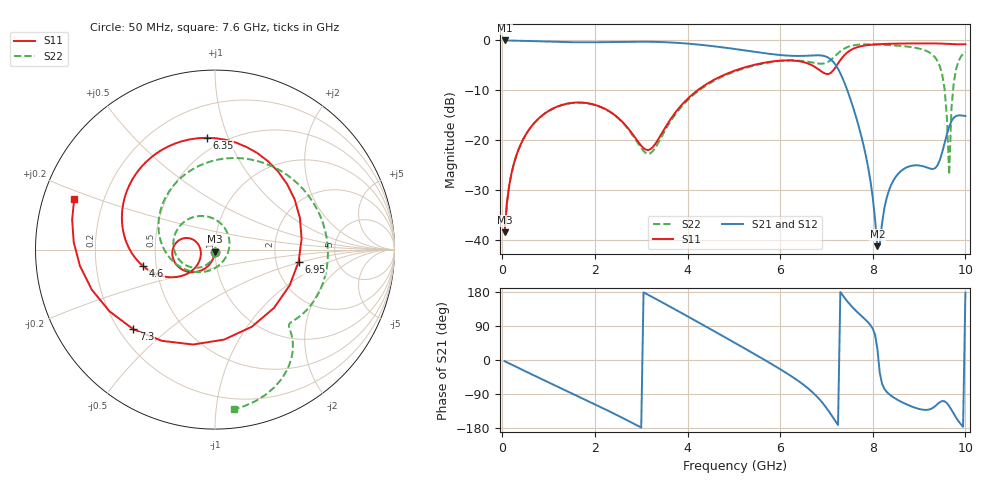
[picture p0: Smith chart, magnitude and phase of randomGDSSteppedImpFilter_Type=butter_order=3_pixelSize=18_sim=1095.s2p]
! freq	dB(S11)	phase(S11)	dB(S12)	phase(S12)
!  dB(S21)	phase(S21)	dB(S22)	phase(S22)
!S-par simulation data
#  GHz  S  DB  R 50
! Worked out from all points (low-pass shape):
!   200 points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, 50 MHz to 10 GHz, reference 50 ohm
!   highest |S21| = -0.01 dB at 50 MHz (marker M1); lowest = -41.2 dB at 8.1 GHz (marker M2)
!   |S21| within 3 dB of the highest: start of sweep to 6.107 GHz; 6.692 GHz to 6.878 GHz (185.7 MHz wide, 2.74 % of centre)
!   lowest |S11| = -38.4 dB at 50 MHz (marker M3), VSWR 1.02, Z = 49.9 - j1.2 ohm
!   |S11| at or under -10 dB: start of sweep to 4.214 GHz
!   |S22| runs from -38.5 to -0.8 dB; largest |S21 - S12| = 0
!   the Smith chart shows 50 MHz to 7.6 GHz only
!   S11 on the Smith chart (normalised r, x): 50 MHz: 1.00, -0.02; 4.6 GHz: 0.42, -0.09; 6.35 GHz: 0.41, +0.84; 6.95 GHz: 2.68, -0.47; 7.3 GHz: 0.26, -0.38; 7.6 GHz: 0.09, +0.17
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0.05  -38.43 -92.0  -0.01 -3.0  -0.01 -3.0  -38.45 -92.9
0.2  -26.55 -100.5  -0.03 -12.0  -0.03 -12.0  -26.57 -103.6
0.5  -18.97 -116.4  -0.10 -29.9  -0.10 -29.9  -18.99 -124.3
1.75  -12.46 -176.2  -0.37 -102.4  -0.37 -102.4  -12.49 150.4
2.7  -17.40 155.5  -0.27 -159.2  -0.27 -159.2  -17.53 66.6
3.4  -19.28 -143.6  -0.31 155.6  -0.31 155.6  -19.94 -88.0
4.6  -7.74 -166.9  -1.20 74.3  -1.20 74.3  -7.95 133.6
5.05  -5.95 173.2  -1.75 43.3  -1.75 43.3  -6.12 91.8
6.35  -4.09 94.3  -3.11 -51.7  -3.11 -51.7  -4.02 -16.7
6.7  -5.04 51.2  -3.00 -85.3  -3.00 -85.3  -4.42 -38.1
6.95  -6.55 -8.4  -3.11 -118.5  -3.11 -118.5  -4.60 -45.7
7.3  -3.94 -135.8  -6.59 179.4  -6.59 179.4  -2.18 -58.6
7.6  -1.58 160.2  -14.14 134.3  -14.14 134.3  -0.95 -83.4
7.9  -0.93 124.2  -25.40 99.2  -25.40 99.2  -0.78 -105.9
8.1  -0.77 107.0  -41.17 28.9  -41.17 28.9  -0.82 -119.6
8.35  -0.67 89.2  -30.01 -89.9  -30.01 -89.9  -0.93 -136.2
9  -0.59 51.8  -25.02 -129.1  -25.02 -129.1  -1.63 176.9
9.4  -0.61 31.6  -24.96 -116.1  -24.96 -116.1  -4.16 130.1
9.55  -0.67 24.4  -20.56 -109.0  -20.56 -109.0  -9.67 94.9
9.65  -0.72 19.9  -17.26 -121.6  -17.26 -121.6  -26.87 -42.3
9.75  -0.76 15.7  -15.46 -142.1  -15.46 -142.1  -8.35 -133.3
10  -0.76 5.0  -15.12 177.4  -15.12 177.4  -2.35 168.3
